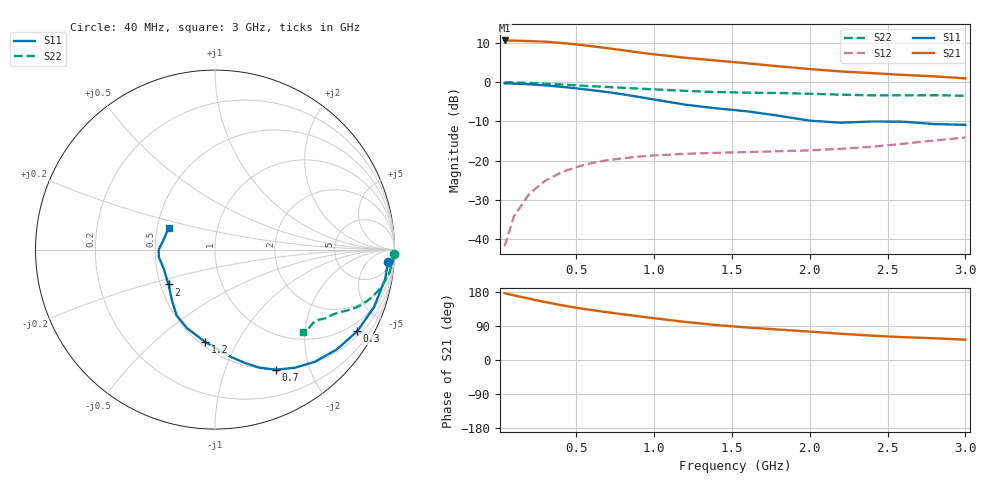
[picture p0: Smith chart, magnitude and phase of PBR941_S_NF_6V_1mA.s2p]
! Filename:  PBR941K.S2P  Version:  3.0
! Philips part #:  PBR941  Date: July 1998
! Bias condition:  Vce=6V, Ic=1.0mA
#  MHz  S  MA  R 50
! Freq  S11  S21  S12  S22
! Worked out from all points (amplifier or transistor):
!   21 points, 40 MHz to 3 GHz, reference 50 ohm
!   highest |S21| = 10.7 dB at 40 MHz (marker M1)
!   |S21| within 3 dB of that: start of sweep to 890.9 MHz
!   unconditionally stable (mu >= 1): 1.914 GHz to end of sweep
!   at 300 MHz: K = 0.18, MSG = 17.8 dB, |S12| = -25.2 dB
!   at 1 GHz: K = 0.54, MSG = 12.9 dB, |S12| = -18.7 dB
!   at 3 GHz: K = 1.07, MAG = 5.9 dB, |S12| = -14.1 dB
!   lowest NFmin = 0.99 dB at 500 MHz
!   S11 on the Smith chart (normalised r, x): 40 MHz: 11, -23; 300 MHz: 0.66, -3.64; 700 MHz: 0.49, -1.51; 1.2 GHz: 0.53, -0.75; 2 GHz: 0.55, -0.24; 3 GHz: 0.57, +0.15
40  0.967 -4.0  3.419 176.2  0.008079 87.1  0.9973 -1.5
100  0.9619 -10.0  3.399 170.6  0.01942 83.9  0.9935 -3.8
200  0.9421 -19.9  3.358 161.5  0.03807 77.8  0.9801 -7.5
300  0.9137 -29.9  3.296 152.9  0.05522 72.9  0.9609 -11.0
400  0.8774 -39.4  3.182 145.1  0.07008 68.4  0.9383 -14.1
500  0.8367 -48.3  3.046 137.9  0.08264 64.3  0.9145 -16.8
600  0.794 -56.0  2.885 131.8  0.09304 61.2  0.8912 -19.0
700  0.7503 -63.1  2.727 126.1  0.1012 58.6  0.8704 -20.8
800  0.7022 -69.5  2.563 120.6  0.1071 56.3  0.8505 -22.3
900  0.6506 -75.5  2.407 115.3  0.1124 54.5  0.8307 -23.5
1000  0.6023 -81.8  2.274 110.3  0.1163 53.3  0.8121 -24.7
1200  0.5181 -95.9  2.057 100.5  0.1222 51.6  0.7761 -26.7
1400  0.4647 -109.6  1.894 92.2  0.1258 51.0  0.7498 -28.8
1600  0.4253 -120.0  1.745 85.7  0.1285 53.2  0.7364 -30.4
1800  0.374 -129.7  1.6 80.4  0.1316 56.3  0.7288 -31.6
2000  0.3236 -143.1  1.474 74.9  0.135 59.8  0.7138 -32.7
2200  0.3046 -160.1  1.375 69.3  0.1415 63.4  0.6944 -34.4
2400  0.3159 -172.5  1.31 64.1  0.15 67.5  0.6816 -36.9
2600  0.3139 180.0  1.242 60.3  0.1642 72.0  0.682 -39.5
2800  0.2926 170.2  1.19 57.3  0.1806 75.5  0.6835 -41.4
3000  0.2861 154.7  1.121 53.6  0.1973 77.8  0.6715 -42.8
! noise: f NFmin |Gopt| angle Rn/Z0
500  0.992  0.723  19.23  0.499
900  1.034  0.605  30.41  0.468
1000  1.23  0.523  36.2  0.51
2000  2.13  0.341  105.5  0.253
